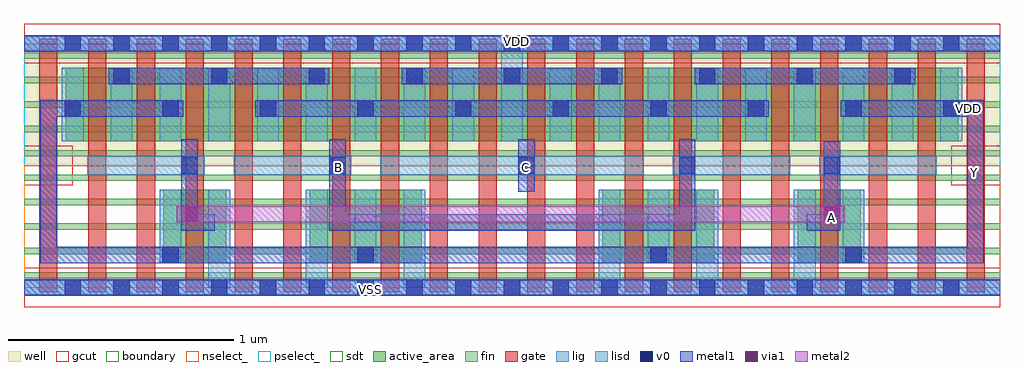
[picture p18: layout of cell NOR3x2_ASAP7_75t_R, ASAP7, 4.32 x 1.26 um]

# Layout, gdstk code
import gdstk
lib = gdstk.Library(unit=1e-6, precision=2.5e-10)
def R(c, l, rs):  # rectangles x0, y0, x1, y1
    for r in rs: c.add(gdstk.rectangle(r[:2], r[2:], *l))
def A(c, l, x, y, w, h, nx, ny, dx, dy):  # array of equal rectangles
    R(c, l, [(x+i*dx, y+j*dy, x+i*dx+w, y+j*dy+h) for i in range(nx) for j in range(ny)])
def P(c, l, *ps):  # polygons
    for p in ps: c.add(gdstk.Polygon(p, *l))
well = (1, 0)
fin = (2, 0)
gate = (7, 0)
gcut = (10, 0)
active_area = (11, 0)
nselect_ = (12, 0)
pselect_ = (13, 0)
lig = (16, 0)
lisd = (17, 0)
v0 = (18, 0)
metal1 = (19, 0)
metal2 = (20, 0)
via1 = (21, 0)
sdt = (88, 0)
boundary = (100, 0)

nor3x2_asap7_75t_r = lib.new_cell('NOR3x2_ASAP7_75t_R')
R(nor3x2_asap7_75t_r, well, [(0,0.54,4.32,1.08)])
A(nor3x2_asap7_75t_r, fin, 0, 0.04, 4.32, 0.028, 1, 10, 0, 0.108)
A(nor3x2_asap7_75t_r, gate, 0.068, -0.02, 0.08, 1.12, 20, 1, 0.216, 0)
R(nor3x2_asap7_75t_r, gcut, [(0,-0.088,4.32,0.088), (0,0.452,0.216,0.628), (4.104,0.452,4.32,0.628), (0,0.992,4.32,1.168)])
R(nor3x2_asap7_75t_r, active_area, [(0.616,0.108,0.896,0.432), (1.264,0.108,1.76,0.432), (2.56,0.108,3.056,0.432), (3.424,0.108,3.704,0.432), (0.184,0.648,4.136,0.972)])
R(nor3x2_asap7_75t_r, nselect_, [(0,0,4.32,0.54)])
R(nor3x2_asap7_75t_r, pselect_, [(0,0.54,4.32,1.08)])
R(nor3x2_asap7_75t_r, lig, [(0,-0.032,4.32,0.032), (0.28,0.5,0.8,0.58), (0.928,0.5,1.448,0.58), (1.576,0.5,2.744,0.58), (2.872,0.5,3.392,0.58), (3.52,0.5,4.04,0.58), (0,1.048,4.32,1.112)])
A(nor3x2_asap7_75t_r, lisd, 0.816, 0, 0.096, 0.432, 3, 1, 0.432, 0)
A(nor3x2_asap7_75t_r, lisd, 2.544, 0, 0.096, 0.432, 3, 1, 0.432, 0)
A(nor3x2_asap7_75t_r, lisd, 0.168, 0.648, 0.096, 0.324, 9, 1, 0.216, 0)
A(nor3x2_asap7_75t_r, lisd, 2.328, 0.648, 0.096, 0.324, 9, 1, 0.216, 0)
R(nor3x2_asap7_75t_r, lisd, [(0.6,0.108,0.696,0.432), (1.464,0.108,1.56,0.432), (2.76,0.108,2.856,0.432), (3.624,0.108,3.72,0.432), (2.112,0.648,2.208,1.08)])
A(nor3x2_asap7_75t_r, v0, 0.18, -0.036, 0.072, 0.072, 19, 2, 0.216, 1.08)
A(nor3x2_asap7_75t_r, v0, 0.18, 0.756, 0.072, 0.072, 10, 1, 0.432, 0)
A(nor3x2_asap7_75t_r, v0, 0.396, 0.9, 0.072, 0.072, 9, 1, 0.432, 0)
R(nor3x2_asap7_75t_r, v0, [(0.612,0.108,0.684,0.18), (1.476,0.108,1.548,0.18), (2.772,0.108,2.844,0.18), (3.636,0.108,3.708,0.18), (0.696,0.504,0.768,0.576), (1.352,0.504,1.424,0.576), (2.188,0.504,2.26,0.576), (2.9,0.504,2.972,0.576), (3.54,0.504,3.612,0.576)])
A(nor3x2_asap7_75t_r, metal1, 0.376, 0.9, 0.976, 0.072, 3, 1, 1.296, 0)
R(nor3x2_asap7_75t_r, metal1, [(0,-0.036,4.32,0.036), (2.188,0.424,2.26,0.656), (1.024,0.756,3.296,0.828), (0,1.044,4.32,1.116)])
P(nor3x2_asap7_75t_r, metal1, [(0.072,0.108),(0.072,0.828),(0.704,0.828),(0.704,0.756),(0.144,0.756),(0.144,0.18),(4.176,0.18),(4.176,0.756),(3.616,0.756),(3.616,0.828),(4.248,0.828),(4.248,0.108)],
  [(0.696,0.252),(0.696,0.656),(0.768,0.656),(0.768,0.324),(0.844,0.324),(0.844,0.252)],
  [(1.352,0.252),(1.352,0.656),(1.424,0.656),(1.424,0.324),(2.9,0.324),(2.9,0.656),(2.972,0.656),(2.972,0.252)],
  [(3.464,0.252),(3.464,0.324),(3.54,0.324),(3.54,0.648),(3.612,0.648),(3.612,0.252)])
R(nor3x2_asap7_75t_r, metal2, [(0.676,0.288,3.632,0.36)])
R(nor3x2_asap7_75t_r, via1, [(0.696,0.288,0.768,0.36), (3.54,0.288,3.612,0.36)])
A(nor3x2_asap7_75t_r, sdt, 1.248, 0.108, 0.096, 0.324, 3, 1, 0.216, 0)
A(nor3x2_asap7_75t_r, sdt, 2.544, 0.108, 0.096, 0.324, 3, 1, 0.216, 0)
A(nor3x2_asap7_75t_r, sdt, 0.168, 0.648, 0.096, 0.324, 19, 1, 0.216, 0)
R(nor3x2_asap7_75t_r, sdt, [(0.6,0.108,0.696,0.432), (0.816,0.108,0.912,0.432), (3.408,0.108,3.504,0.432), (3.624,0.108,3.72,0.432)])
R(nor3x2_asap7_75t_r, boundary, [(0,0,4.32,1.08)])
nor3x2_asap7_75t_r.add(gdstk.Label('C', (2.22,0.532), layer=19, texttype=251))
nor3x2_asap7_75t_r.add(gdstk.Label('B', (1.392,0.532), layer=19, texttype=251))
nor3x2_asap7_75t_r.add(gdstk.Label('Y', (4.208,0.508), layer=19, texttype=251))
nor3x2_asap7_75t_r.add(gdstk.Label('VSS', (1.532,-0.008), layer=19, texttype=251))
nor3x2_asap7_75t_r.add(gdstk.Label('VDD', (2.18,1.088), layer=19, texttype=251))
nor3x2_asap7_75t_r.add(gdstk.Label('VDD', (4.18,0.792), layer=1, texttype=251))
nor3x2_asap7_75t_r.add(gdstk.Label('VSS', (2.756,-0.42), layer=3, texttype=251))
nor3x2_asap7_75t_r.add(gdstk.Label('A', (3.576,0.312), layer=20, texttype=251))

lib.write_gds('NOR3x2_ASAP7_75t_R.gds')
